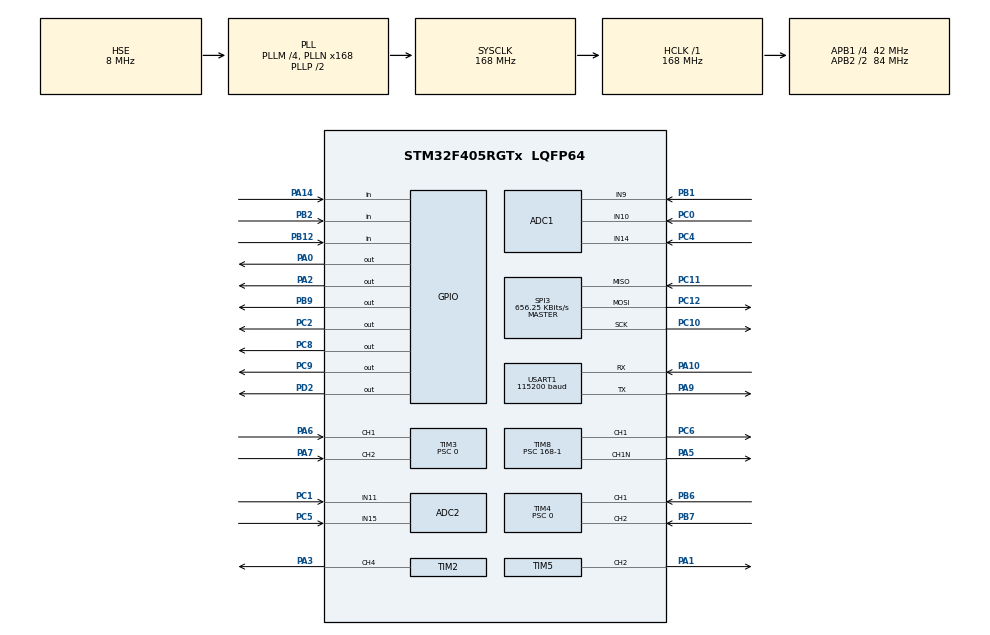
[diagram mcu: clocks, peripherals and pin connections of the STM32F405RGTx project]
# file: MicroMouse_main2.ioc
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ADC1.Channel-0\#ChannelRegularConversion=ADC_CHANNEL_10
ADC1.Channel-1\#ChannelRegularConversion=ADC_CHANNEL_14
ADC1.Channel-2\#ChannelRegularConversion=ADC_CHANNEL_9
ADC1.ClockPrescaler=ADC_CLOCK_SYNC_PCLK_DIV6
ADC1.ContinuousConvMode=ENABLE
ADC1.DMAContinuousRequests=ENABLE
ADC1.NbrOfConversion=3
ADC1.NbrOfConversionFlag=1
ADC1.Rank-0\#ChannelRegularConversion=1
ADC1.Rank-1\#ChannelRegularConversion=2
ADC1.Rank-2\#ChannelRegularConversion=3
ADC1.SamplingTime-0\#ChannelRegularConversion=ADC_SAMPLETIME_56CYCLES
ADC1.SamplingTime-1\#ChannelRegularConversion=ADC_SAMPLETIME_56CYCLES
ADC1.SamplingTime-2\#ChannelRegularConversion=ADC_SAMPLETIME_56CYCLES
ADC1.ScanConvMode=ENABLE
ADC1.master=1
ADC2.Channel-0\#ChannelRegularConversion=ADC_CHANNEL_11
ADC2.Channel-1\#ChannelRegularConversion=ADC_CHANNEL_15
ADC2.ClockPrescaler=ADC_CLOCK_SYNC_PCLK_DIV6
ADC2.ContinuousConvMode=ENABLE
ADC2.DMAContinuousRequests=ENABLE
ADC2.NbrOfConversion=2
ADC2.NbrOfConversionFlag=1
ADC2.Rank-0\#ChannelRegularConversion=1
ADC2.Rank-1\#ChannelRegularConversion=2
ADC2.SamplingTime-0\#ChannelRegularConversion=ADC_SAMPLETIME_56CYCLES
ADC2.SamplingTime-1\#ChannelRegularConversion=ADC_SAMPLETIME_56CYCLES
ADC2.ScanConvMode=ENABLE
Dma.ADC1.0.Direction=DMA_PERIPH_TO_MEMORY
Dma.ADC1.0.FIFOMode=DMA_FIFOMODE_DISABLE
Dma.ADC1.0.Instance=DMA2_Stream0
Dma.ADC1.0.MemDataAlignment=DMA_MDATAALIGN_HALFWORD
Dma.ADC1.0.MemInc=DMA_MINC_ENABLE
Dma.ADC1.0.Mode=DMA_CIRCULAR
Dma.ADC1.0.PeriphDataAlignment=DMA_PDATAALIGN_HALFWORD
Dma.ADC1.0.PeriphInc=DMA_PINC_DISABLE
Dma.ADC1.0.Priority=DMA_PRIORITY_LOW
Dma.ADC2.1.Direction=DMA_PERIPH_TO_MEMORY
Dma.ADC2.1.FIFOMode=DMA_FIFOMODE_DISABLE
Dma.ADC2.1.Instance=DMA2_Stream2
Dma.ADC2.1.MemDataAlignment=DMA_MDATAALIGN_HALFWORD
Dma.ADC2.1.MemInc=DMA_MINC_ENABLE
Dma.ADC2.1.Mode=DMA_CIRCULAR
Dma.ADC2.1.PeriphDataAlignment=DMA_PDATAALIGN_HALFWORD
Dma.ADC2.1.PeriphInc=DMA_PINC_DISABLE
Dma.ADC2.1.Priority=DMA_PRIORITY_LOW
Dma.Request0=ADC1
Dma.Request1=ADC2
Mcu.Family=STM32F4
Mcu.Name=STM32F405RGTx
Mcu.Package=LQFP64
NVIC.ADC_IRQn=true\:0\:0\:false\:false\:true\:true\:true\:true
NVIC.DMA2_Stream0_IRQn=true\:0\:0\:false\:false\:true\:false\:true\:true
NVIC.DMA2_Stream2_IRQn=true\:0\:0\:false\:false\:true\:false\:true\:true
NVIC.FLASH_IRQn=true\:0\:0\:false\:false\:true\:true\:true\:true
NVIC.PriorityGroup=NVIC_PRIORITYGROUP_4
NVIC.TIM1_UP_TIM10_IRQn=true\:1\:0\:true\:false\:true\:true\:true\:true
NVIC.TIM2_IRQn=true\:0\:0\:false\:false\:true\:true\:true\:true
NVIC.TIM3_IRQn=true\:0\:0\:false\:false\:true\:true\:true\:true
NVIC.TIM4_IRQn=true\:0\:0\:false\:false\:true\:true\:true\:true
NVIC.TIM5_IRQn=true\:0\:0\:false\:false\:true\:true\:true\:true
NVIC.TIM8_CC_IRQn=true\:0\:0\:false\:false\:true\:true\:true\:true
NVIC.TIM8_TRG_COM_TIM14_IRQn=true\:0\:0\:false\:false\:true\:true\:true\:true
NVIC.TIM8_UP_TIM13_IRQn=true\:2\:0\:true\:false\:true\:true\:true\:true
PA0-WKUP.Signal=GPIO_Output
PA1.Signal=S_TIM5_CH2
PA10.Mode=Asynchronous
PA10.Signal=USART1_RX
PA14.Signal=GPIO_Input
PA2.Signal=GPIO_Output
PA3.GPIO_Speed=GPIO_SPEED_FREQ_VERY_HIGH
PA3.Signal=S_TIM2_CH4
PA5.Mode=Output Compare1 CH1 CH1N
PA5.Signal=TIM8_CH1N
PA6.Signal=S_TIM3_CH1
PA7.Signal=S_TIM3_CH2
PA9.Mode=Asynchronous
PA9.Signal=USART1_TX
PB1.Signal=ADCx_IN9
PB12.Signal=GPIO_Input
PB2.Signal=GPIO_Input
PB6.Signal=S_TIM4_CH1
PB7.Signal=S_TIM4_CH2
PB9.Signal=GPIO_Output
PC0.Signal=ADCx_IN10
PC1.Signal=ADCx_IN11
PC10.Mode=Full_Duplex_Master
PC10.Signal=SPI3_SCK
PC11.Mode=Full_Duplex_Master
PC11.Signal=SPI3_MISO
PC12.Mode=Full_Duplex_Master
PC12.Signal=SPI3_MOSI
PC2.Signal=GPIO_Output
PC4.Signal=ADCx_IN14
PC5.Signal=ADCx_IN15
PC6.Signal=S_TIM8_CH1
PC8.Signal=GPIO_Output
PC9.Signal=GPIO_Output
PD2.Signal=GPIO_Output
PH0-OSC_IN.Mode=HSE-External-Oscillator
PH0-OSC_IN.Signal=RCC_OSC_IN
PH1-OSC_OUT.Mode=HSE-External-Oscillator
PH1-OSC_OUT.Signal=RCC_OSC_OUT
ProjectManager.HeapSize=0x200
ProjectManager.StackSize=0x400
ProjectManager.TargetToolchain=STM32CubeIDE
RCC.48MHZClocksFreq_Value=84000000
RCC.AHBFreq_Value=168000000
RCC.APB1CLKDivider=RCC_HCLK_DIV4
RCC.APB1Freq_Value=42000000
RCC.APB1TimFreq_Value=84000000
RCC.APB2CLKDivider=RCC_HCLK_DIV2
RCC.APB2Freq_Value=84000000
RCC.APB2TimFreq_Value=168000000
RCC.CortexFreq_Value=168000000
RCC.HCLKFreq_Value=168000000
RCC.HSE_VALUE=8000000
RCC.HSI_VALUE=16000000
RCC.LSE_VALUE=32768
RCC.PLLM=4
RCC.PLLN=168
RCC.PLLSourceVirtual=RCC_PLLSOURCE_HSE
RCC.SYSCLKFreq_VALUE=168000000
RCC.SYSCLKSource=RCC_SYSCLKSOURCE_PLLCLK
RCC.VCOOutputFreq_Value=336000000
SH.ADCx_IN10.0=ADC1_IN10,IN10
SH.ADCx_IN11.0=ADC2_IN11,IN11
SH.ADCx_IN14.0=ADC1_IN14,IN14
SH.ADCx_IN15.0=ADC2_IN15,IN15
SH.ADCx_IN9.0=ADC1_IN9,IN9
SH.S_TIM2_CH4.0=TIM2_CH4,PWM Generation4 CH4
SH.S_TIM3_CH1.0=TIM3_CH1,Encoder_Interface
SH.S_TIM3_CH2.0=TIM3_CH2,Encoder_Interface
SH.S_TIM4_CH1.0=TIM4_CH1,Encoder_Interface
SH.S_TIM4_CH2.0=TIM4_CH2,Encoder_Interface
SH.S_TIM5_CH2.0=TIM5_CH2,PWM Generation2 CH2
SH.S_TIM8_CH1.0=TIM8_CH1,Output Compare1 CH1 CH1N
SPI3.BaudRatePrescaler=SPI_BAUDRATEPRESCALER_64
SPI3.CLKPhase=SPI_PHASE_2EDGE
SPI3.CLKPolarity=SPI_POLARITY_HIGH
SPI3.CalculateBaudRate=656.25 KBits/s
SPI3.Direction=SPI_DIRECTION_2LINES
SPI3.Mode=SPI_MODE_MASTER
SPI3.VirtualType=VM_MASTER
TIM1.Period=1000-1
TIM1.Prescaler=168-1
TIM2.AutoReloadPreload=TIM_AUTORELOAD_PRELOAD_DISABLE
TIM2.Channel-PWM\ Generation4\ CH4=TIM_CHANNEL_4
TIM2.Period=4200-1
TIM2.Prescaler=0
TIM2.Pulse-PWM\ Generation4\ CH4=0
TIM3.Period=60000-1
TIM3.Prescaler=0
TIM4.Period=60000-1
TIM4.Prescaler=0
TIM5.AutoReloadPreload=TIM_AUTORELOAD_PRELOAD_DISABLE
TIM5.Channel-PWM\ Generation2\ CH2=TIM_CHANNEL_2
TIM5.Period=4200-1
TIM5.Prescaler=0
TIM8.AutoReloadPreload=TIM_AUTORELOAD_PRELOAD_ENABLE
TIM8.Channel-Output\ Compare1\ CH1\ CH1N=TIM_CHANNEL_1
TIM8.OC1Preload=ENABLE
TIM8.OCMode_1=TIM_OCMODE_TOGGLE
TIM8.Period=50-1
TIM8.Prescaler=168-1
TIM8.Pulse-Output\ Compare1\ CH1\ CH1N=25-1
USART1.BaudRate=115200
USART1.VirtualMode=VM_ASYNC
VP_TIM1_VS_ClockSourceINT.Mode=Internal
VP_TIM2_VS_ClockSourceINT.Mode=Internal
VP_TIM5_VS_ClockSourceINT.Mode=Internal
VP_TIM8_VS_ClockSourceINT.Mode=Internal
board=custom

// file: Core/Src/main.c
/* USER CODE BEGIN Header */
/* Variable rules */
// Grobal Variable  :  grobal, variable...
// Local Variable  :  Local, Variable...
// Macro  :  MACRO, DEIFNE...
/**
  ******************************************************************************
  * @file           : main.c
  * @brief          : Main program body
  ******************************************************************************
  * @attention
  *
  * <h2><center>&copy; Copyright (c) 2021 STMicroelectronics.
  * All rights reserved.</center></h2>
  *
  * This software component is licensed by ST under BSD 3-Clause license,
  * the "License"; You may not use this file except in compliance with the
  * License. You may obtain a copy of the License at:
  *                        opensource.org/licenses/BSD-3-Clause
  *
  ******************************************************************************
  */
/* USER CODE END Header */
#include "main.h"

/* USER CODE BEGIN Includes */
#include "math.h"
#include "stdlib.h"
#include "stdio.h"
#include "stdbool.h"
#include "string.h"
#include "stdint.h"

#include "stm32f4xx_hal_tim.h"

//#include "ICM_20648.h"
//
#include "IEH2_4096.h"		//エンコー
#include "ADC.h"
#include "LED_Driver.h"
#include "IR_Emitter.h"	//発
#include "Convert.h"

#include "UI.h"
#include "Interrupt.h"
#include "Mode.h"
#include "Map.h"
#include "ICM_20648.h"
#include "PID_Control.h"
#include "Motor_Driver.h"

#include "MicroMouse.h"

//#include <HPP/wrapper.hpp>
/* USER CODE END Includes */

/* USER CODE BEGIN PD */

/*  ---ms---  制御周     */
//#define _GNU_SOURCE
//#define PI 3.14159265358979323846

/*--調整パラメータ--*/

/* USER CODE END PD */

ADC_HandleTypeDef hadc1;
ADC_HandleTypeDef hadc2;
DMA_HandleTypeDef hdma_adc1;
DMA_HandleTypeDef hdma_adc2;

SPI_HandleTypeDef hspi3;

TIM_HandleTypeDef htim1;
TIM_HandleTypeDef htim2;
TIM_HandleTypeDef htim3;
TIM_HandleTypeDef htim4;
TIM_HandleTypeDef htim5;
TIM_HandleTypeDef htim8;

UART_HandleTypeDef huart1;

void SystemClock_Config(void);
static void MX_GPIO_Init(void);
static void MX_DMA_Init(void);
static void MX_ADC1_Init(void);
static void MX_ADC2_Init(void);
static void MX_TIM3_Init(void);
static void MX_TIM2_Init(void);
static void MX_SPI3_Init(void);
static void MX_USART1_UART_Init(void);
static void MX_TIM5_Init(void);
static void MX_TIM4_Init(void);
static void MX_TIM8_Init(void);
static void MX_TIM1_Init(void);
/* USER CODE BEGIN PFP */
extern void TIM5Init();
/* USER CODE END PFP */

/* USER CODE BEGIN 0 */
#ifdef __GNUC__
	#define PUTCHAR_PROTOTYPE int __io_putchar(int ch)
	#define GETCHAR_PROTOTYPE int __io_getchar(void)
#else
	#define PUTCHAR_PROTOTYPE int fputc(int ch, FILE *f)
	#define GETCHAR_PROTOTYPE int f getc(FILE* f)
#endif /*__GNUC__*/
PUTCHAR_PROTOTYPE {
	HAL_UART_Transmit(&huart1, (uint8_t*)&ch, 1, 0xFFFF);
	return ch;
}
int __io_getchar(void) {
HAL_StatusTypeDef Status = HAL_BUSY;
uint8_t Data;

while(Status != HAL_OK)
{
Status = HAL_UART_Receive(&huart1, &Data, sizeof(Data), 10);
//if(Status == HAL_ERROR)
//{
//	return 0;
//	break;
//}
}
return(Data);
}
/*---- DEFINING FUNCTION ----*/

/*---- DEFINING FUNCTION END----*/

/* USER CODE END 0 */

int main(void)
{

  /* MCU Configuration--------------------------------------------------------*/

  /* Reset of all peripherals, Initializes the Flash interface and the Systick. */
  HAL_Init();

  /* USER CODE BEGIN Init */

  //バッ�?リチェ�?ク
  MX_GPIO_Init();
  MX_DMA_Init();
  MX_ADC1_Init();
  MX_ADC2_Init();

  ADCStart();
  BatteryCheck( (int)adc1[2] );
  ADCStop();

  //モード選�? //スイ�?チが押されるまでエンコー�?の処�?を受け付け�?
  MX_TIM3_Init();

  int8_t startup_mode;
  ModeSelect(0, 7, &startup_mode);
  Signal( startup_mode );

  //MAX45mAでモード選択できる

  /* USER CODE END Init */

  /* Configure the system clock */
  SystemClock_Config();

  /* Initialize all configured peripherals */
  MX_GPIO_Init();
  MX_DMA_Init();
  MX_ADC1_Init();
  MX_ADC2_Init();
  MX_TIM3_Init();
  MX_TIM2_Init();
  MX_SPI3_Init();
  MX_USART1_UART_Init();
  MX_TIM5_Init();
  MX_TIM4_Init();
  MX_TIM8_Init();
  MX_TIM1_Init();
  /* USER CODE BEGIN 2 */

  //赤外線LEDの消費電流テス�?
  //何も無�?70mA
  //これまで
  //101mAになった�?�で31mA. 2本で.

  //周波数を上げ�?

  //周波数を下げ�?
  /* USER CODE END 2 */

  /* Infinite loop */
  /* USER CODE BEGIN WHILE */

  //cpploop();

#if 0
  printf("test\r\n");
  ChangeLED(7);
  HAL_Delay(1000);
  IT_mode = WRITINGFREE;
  //エンコー
  EncoderStart();
  //モータタイ??��?��?
  Motor_PWM_Start();
  //割込み
  HAL_TIM_Base_Start_IT(&htim1);

  HAL_GPIO_WritePin(GPIO_LEFT, GPIO_L_PIN_NUM, GPIO_PIN_SET); //A2が左SET:1で正転
  HAL_GPIO_WritePin(GPIO_RIGHT, GPIO_R_PIN_NUM, GPIO_PIN_RESET);
  	__HAL_TIM_SET_COMPARE(&htim2, TIM_CHANNEL_4, 1050/4); //duty??��?��?//tim2ch4が左
  	__HAL_TIM_SET_COMPARE(&htim5, TIM_CHANNEL_2, 1050/4);
  	while(data[1999] == 0)
  	{

  	}
  	__HAL_TIM_SET_COMPARE(&htim2, TIM_CHANNEL_4, 0);
  	__HAL_TIM_SET_COMPARE(&htim5, TIM_CHANNEL_2, 0);
  	HAL_TIM_Base_Stop_IT(&htim1);
  //t = 1;
  while(1)
  {

		  for(int i=0; i < 2000; i++)
		  {
			  printf("%d, %f\r\n",i,data[i]);
			  HAL_Delay(1);
		  }
	  HAL_Delay(10000);

  }

#endif

  PIDSetGain(L_VELO_PID, 14.6, 2800,0.001);//1200,0);//2430,0);//7.3,1215,0);//40kHzの//14.6, 2430,0);//(20khzのと??��?��?);//1200,0.0);//2430, 0.002);//21.96,2450,0.002);//14,6000,0.002);//11.1, 2430, 0.002);////D0.0036 //I2430くら 36.6*0.6=18+3.96
  PIDSetGain(R_VELO_PID, 14.6, 2800,0.001);// 1200,0);//2430,0);//7.3,1215,0);//14.6, 2430,0);//1200,0.0);//, 2430,0);//17.5//2430, 0.002);//21.96,2450,0.002);//14,6000,0.002);//11.1, 2430, 0.002);//I150,
  //PIDSetGain(B_VELO, 1.1941, 33.5232, 0.0059922);
  PIDSetGain(A_VELO_PID, 12,0,0);//28.6379,340.0855,0.21289);//17.4394, 321.233, 0.12492);
  PIDSetGain(F_WALL_PID, 6, 0, 0	);
  PIDSetGain(D_WALL_PID, 6, 0, 0	);//3.2,0,0);/4.5,1.5,0.003);//3.6, 20, 0);//5.2//速度制御
  PIDSetGain(L_WALL_PID, 12,0,0);//6.4,0,0);//9,3,0.006);//1.8, 10, 0);
  PIDSetGain(R_WALL_PID, 12,0,0);//6.4,0,0);//9,3,0.006);//1.8, 10, 0);

  while (1)
  {
	  switch( startup_mode )
	  {
	  case PARAMETERSETTING:

		  ParameterSetting();
		//wall_flash_print();
		  break;
	  case CQ:
		  CQ_test();
		  //GainTestRWall();
		  break;
	  case GAINTEST:
		  GainTestDWall();
		  break;
	  case DEBUGGER:
		  Debug();
		  break;
	  case FASTEST_RUN:
		  //GainTestLWall();
		  FastestRun();
		  break;
	  case 5:
		  GainTestAVelo();
		  break;
	  case EXPLORE:
		  Explore();
		  break;
	  case WRITINGFREE:
		  WritingFree();
		  break;
	  default :
		  break;
	  }
    /* USER CODE END WHILE */

  }
}

void SystemClock_Config(void)
{
  RCC_OscInitTypeDef RCC_OscInitStruct = {0};
  RCC_ClkInitTypeDef RCC_ClkInitStruct = {0};

  /** Configure the main internal regulator output voltage
  */
  __HAL_RCC_PWR_CLK_ENABLE();
  __HAL_PWR_VOLTAGESCALING_CONFIG(PWR_REGULATOR_VOLTAGE_SCALE1);
  /** Initializes the RCC Oscillators according to the specified parameters
  * in the RCC_OscInitTypeDef structure.
  */
  RCC_OscInitStruct.OscillatorType = RCC_OSCILLATORTYPE_HSE;
  RCC_OscInitStruct.HSEState = RCC_HSE_ON;
  RCC_OscInitStruct.PLL.PLLState = RCC_PLL_ON;
  RCC_OscInitStruct.PLL.PLLSource = RCC_PLLSOURCE_HSE;
  RCC_OscInitStruct.PLL.PLLM = 4;
  RCC_OscInitStruct.PLL.PLLN = 168;
  RCC_OscInitStruct.PLL.PLLP = RCC_PLLP_DIV2;
  RCC_OscInitStruct.PLL.PLLQ = 4;
  if (HAL_RCC_OscConfig(&RCC_OscInitStruct) != HAL_OK)
  {
    Error_Handler();
  }
  /** Initializes the CPU, AHB and APB buses clocks
  */
  RCC_ClkInitStruct.ClockType = RCC_CLOCKTYPE_HCLK|RCC_CLOCKTYPE_SYSCLK
                              |RCC_CLOCKTYPE_PCLK1|RCC_CLOCKTYPE_PCLK2;
  RCC_ClkInitStruct.SYSCLKSource = RCC_SYSCLKSOURCE_PLLCLK;
  RCC_ClkInitStruct.AHBCLKDivider = RCC_SYSCLK_DIV1;
  RCC_ClkInitStruct.APB1CLKDivider = RCC_HCLK_DIV4;
  RCC_ClkInitStruct.APB2CLKDivider = RCC_HCLK_DIV2;

  if (HAL_RCC_ClockConfig(&RCC_ClkInitStruct, FLASH_LATENCY_5) != HAL_OK)
  {
    Error_Handler();
  }
}

static void MX_ADC1_Init(void)
{

  ADC_ChannelConfTypeDef sConfig = {0};

  /** Configure the global features of the ADC (Clock, Resolution, Data Alignment and number of conversion)
  */
  hadc1.Instance = ADC1;
  hadc1.Init.ClockPrescaler = ADC_CLOCK_SYNC_PCLK_DIV6;
  hadc1.Init.Resolution = ADC_RESOLUTION_12B;
  hadc1.Init.ScanConvMode = ENABLE;
  hadc1.Init.ContinuousConvMode = ENABLE;
  hadc1.Init.DiscontinuousConvMode = DISABLE;
  hadc1.Init.ExternalTrigConvEdge = ADC_EXTERNALTRIGCONVEDGE_NONE;
  hadc1.Init.ExternalTrigConv = ADC_SOFTWARE_START;
  hadc1.Init.DataAlign = ADC_DATAALIGN_RIGHT;
  hadc1.Init.NbrOfConversion = 3;
  hadc1.Init.DMAContinuousRequests = ENABLE;
  hadc1.Init.EOCSelection = ADC_EOC_SINGLE_CONV;
  if (HAL_ADC_Init(&hadc1) != HAL_OK)
  {
    Error_Handler();
  }
  /** Configure for the selected ADC regular channel its corresponding rank in the sequencer and its sample time.
  */
  sConfig.Channel = ADC_CHANNEL_10;
  sConfig.Rank = 1;
  sConfig.SamplingTime = ADC_SAMPLETIME_56CYCLES;
  if (HAL_ADC_ConfigChannel(&hadc1, &sConfig) != HAL_OK)
  {
    Error_Handler();
  }
  /** Configure for the selected ADC regular channel its corresponding rank in the sequencer and its sample time.
  */
  sConfig.Channel = ADC_CHANNEL_14;
  sConfig.Rank = 2;
  if (HAL_ADC_ConfigChannel(&hadc1, &sConfig) != HAL_OK)
  {
    Error_Handler();
  }
  /** Configure for the selected ADC regular channel its corresponding rank in the sequencer and its sample time.
  */
  sConfig.Channel = ADC_CHANNEL_9;
  sConfig.Rank = 3;
  if (HAL_ADC_ConfigChannel(&hadc1, &sConfig) != HAL_OK)
  {
    Error_Handler();
  }

}

static void MX_ADC2_Init(void)
{

  ADC_ChannelConfTypeDef sConfig = {0};

  /** Configure the global features of the ADC (Clock, Resolution, Data Alignment and number of conversion)
  */
  hadc2.Instance = ADC2;
  hadc2.Init.ClockPrescaler = ADC_CLOCK_SYNC_PCLK_DIV6;
  hadc2.Init.Resolution = ADC_RESOLUTION_12B;
  hadc2.Init.ScanConvMode = ENABLE;
  hadc2.Init.ContinuousConvMode = ENABLE;
  hadc2.Init.DiscontinuousConvMode = DISABLE;
  hadc2.Init.ExternalTrigConvEdge = ADC_EXTERNALTRIGCONVEDGE_NONE;
  hadc2.Init.ExternalTrigConv = ADC_SOFTWARE_START;
  hadc2.Init.DataAlign = ADC_DATAALIGN_RIGHT;
  hadc2.Init.NbrOfConversion = 2;
  hadc2.Init.DMAContinuousRequests = ENABLE;
  hadc2.Init.EOCSelection = ADC_EOC_SINGLE_CONV;
  if (HAL_ADC_Init(&hadc2) != HAL_OK)
  {
    Error_Handler();
  }
  /** Configure for the selected ADC regular channel its corresponding rank in the sequencer and its sample time.
  */
  sConfig.Channel = ADC_CHANNEL_11;
  sConfig.Rank = 1;
  sConfig.SamplingTime = ADC_SAMPLETIME_56CYCLES;
  if (HAL_ADC_ConfigChannel(&hadc2, &sConfig) != HAL_OK)
  {
    Error_Handler();
  }
  /** Configure for the selected ADC regular channel its corresponding rank in the sequencer and its sample time.
  */
  sConfig.Channel = ADC_CHANNEL_15;
  sConfig.Rank = 2;
  if (HAL_ADC_ConfigChannel(&hadc2, &sConfig) != HAL_OK)
  {
    Error_Handler();
  }

}

static void MX_SPI3_Init(void)
{

  /* SPI3 parameter configuration*/
  hspi3.Instance = SPI3;
  hspi3.Init.Mode = SPI_MODE_MASTER;
  hspi3.Init.Direction = SPI_DIRECTION_2LINES;
  hspi3.Init.DataSize = SPI_DATASIZE_8BIT;
  hspi3.Init.CLKPolarity = SPI_POLARITY_HIGH;
  hspi3.Init.CLKPhase = SPI_PHASE_2EDGE;
  hspi3.Init.NSS = SPI_NSS_SOFT;
  hspi3.Init.BaudRatePrescaler = SPI_BAUDRATEPRESCALER_64;
  hspi3.Init.FirstBit = SPI_FIRSTBIT_MSB;
  hspi3.Init.TIMode = SPI_TIMODE_DISABLE;
  hspi3.Init.CRCCalculation = SPI_CRCCALCULATION_DISABLE;
  hspi3.Init.CRCPolynomial = 10;
  if (HAL_SPI_Init(&hspi3) != HAL_OK)
  {
    Error_Handler();
  }

}

static void MX_TIM1_Init(void)
{

  TIM_ClockConfigTypeDef sClockSourceConfig = {0};
  TIM_MasterConfigTypeDef sMasterConfig = {0};

  htim1.Instance = TIM1;
  htim1.Init.Prescaler = 168-1;
  htim1.Init.CounterMode = TIM_COUNTERMODE_UP;
  htim1.Init.Period = 1000-1;
  htim1.Init.ClockDivision = TIM_CLOCKDIVISION_DIV1;
  htim1.Init.RepetitionCounter = 0;
  htim1.Init.AutoReloadPreload = TIM_AUTORELOAD_PRELOAD_DISABLE;
  if (HAL_TIM_Base_Init(&htim1) != HAL_OK)
  {
    Error_Handler();
  }
  sClockSourceConfig.ClockSource = TIM_CLOCKSOURCE_INTERNAL;
  if (HAL_TIM_ConfigClockSource(&htim1, &sClockSourceConfig) != HAL_OK)
  {
    Error_Handler();
  }
  sMasterConfig.MasterOutputTrigger = TIM_TRGO_RESET;
  sMasterConfig.MasterSlaveMode = TIM_MASTERSLAVEMODE_DISABLE;
  if (HAL_TIMEx_MasterConfigSynchronization(&htim1, &sMasterConfig) != HAL_OK)
  {
    Error_Handler();
  }

}

static void MX_TIM2_Init(void)
{

  TIM_ClockConfigTypeDef sClockSourceConfig = {0};
  TIM_MasterConfigTypeDef sMasterConfig = {0};
  TIM_OC_InitTypeDef sConfigOC = {0};

  htim2.Instance = TIM2;
  htim2.Init.Prescaler = 0;
  htim2.Init.CounterMode = TIM_COUNTERMODE_UP;
  htim2.Init.Period = 4200-1;
  htim2.Init.ClockDivision = TIM_CLOCKDIVISION_DIV1;
  htim2.Init.AutoReloadPreload = TIM_AUTORELOAD_PRELOAD_DISABLE;
  if (HAL_TIM_Base_Init(&htim2) != HAL_OK)
  {
    Error_Handler();
  }
  sClockSourceConfig.ClockSource = TIM_CLOCKSOURCE_INTERNAL;
  if (HAL_TIM_ConfigClockSource(&htim2, &sClockSourceConfig) != HAL_OK)
  {
    Error_Handler();
  }
  if (HAL_TIM_PWM_Init(&htim2) != HAL_OK)
  {
    Error_Handler();
  }
  sMasterConfig.MasterOutputTrigger = TIM_TRGO_RESET;
  sMasterConfig.MasterSlaveMode = TIM_MASTERSLAVEMODE_DISABLE;
  if (HAL_TIMEx_MasterConfigSynchronization(&htim2, &sMasterConfig) != HAL_OK)
  {
    Error_Handler();
  }
  sConfigOC.OCMode = TIM_OCMODE_PWM1;
  sConfigOC.Pulse = 0;
  sConfigOC.OCPolarity = TIM_OCPOLARITY_HIGH;
  sConfigOC.OCFastMode = TIM_OCFAST_DISABLE;
  if (HAL_TIM_PWM_ConfigChannel(&htim2, &sConfigOC, TIM_CHANNEL_4) != HAL_OK)
  {
    Error_Handler();
  }
  HAL_TIM_MspPostInit(&htim2);

}

static void MX_TIM3_Init(void)
{

  TIM_Encoder_InitTypeDef sConfig = {0};
  TIM_MasterConfigTypeDef sMasterConfig = {0};

  htim3.Instance = TIM3;
  htim3.Init.Prescaler = 0;
  htim3.Init.CounterMode = TIM_COUNTERMODE_UP;
  htim3.Init.Period = 60000-1;
  htim3.Init.ClockDivision = TIM_CLOCKDIVISION_DIV1;
  htim3.Init.AutoReloadPreload = TIM_AUTORELOAD_PRELOAD_DISABLE;
  sConfig.EncoderMode = TIM_ENCODERMODE_TI12;
  sConfig.IC1Polarity = TIM_ICPOLARITY_RISING;
  sConfig.IC1Selection = TIM_ICSELECTION_DIRECTTI;
  sConfig.IC1Prescaler = TIM_ICPSC_DIV1;
  sConfig.IC1Filter = 0;
  sConfig.IC2Polarity = TIM_ICPOLARITY_RISING;
  sConfig.IC2Selection = TIM_ICSELECTION_DIRECTTI;
  sConfig.IC2Prescaler = TIM_ICPSC_DIV1;
  sConfig.IC2Filter = 0;
  if (HAL_TIM_Encoder_Init(&htim3, &sConfig) != HAL_OK)
  {
    Error_Handler();
  }
  sMasterConfig.MasterOutputTrigger = TIM_TRGO_RESET;
  sMasterConfig.MasterSlaveMode = TIM_MASTERSLAVEMODE_DISABLE;
  if (HAL_TIMEx_MasterConfigSynchronization(&htim3, &sMasterConfig) != HAL_OK)
  {
    Error_Handler();
  }

}

static void MX_TIM4_Init(void)
{

  TIM_Encoder_InitTypeDef sConfig = {0};
  TIM_MasterConfigTypeDef sMasterConfig = {0};

  htim4.Instance = TIM4;
  htim4.Init.Prescaler = 0;
  htim4.Init.CounterMode = TIM_COUNTERMODE_UP;
  htim4.Init.Period = 60000-1;
  htim4.Init.ClockDivision = TIM_CLOCKDIVISION_DIV1;
  htim4.Init.AutoReloadPreload = TIM_AUTORELOAD_PRELOAD_DISABLE;
  sConfig.EncoderMode = TIM_ENCODERMODE_TI12;
  sConfig.IC1Polarity = TIM_ICPOLARITY_RISING;
  sConfig.IC1Selection = TIM_ICSELECTION_DIRECTTI;
  sConfig.IC1Prescaler = TIM_ICPSC_DIV1;
  sConfig.IC1Filter = 0;
  sConfig.IC2Polarity = TIM_ICPOLARITY_RISING;
  sConfig.IC2Selection = TIM_ICSELECTION_DIRECTTI;
  sConfig.IC2Prescaler = TIM_ICPSC_DIV1;
  sConfig.IC2Filter = 0;
  if (HAL_TIM_Encoder_Init(&htim4, &sConfig) != HAL_OK)
  {
    Error_Handler();
  }
  sMasterConfig.MasterOutputTrigger = TIM_TRGO_RESET;
  sMasterConfig.MasterSlaveMode = TIM_MASTERSLAVEMODE_DISABLE;
  if (HAL_TIMEx_MasterConfigSynchronization(&htim4, &sMasterConfig) != HAL_OK)
  {
    Error_Handler();
  }

}

static void MX_TIM5_Init(void)
{

  TIM_ClockConfigTypeDef sClockSourceConfig = {0};
  TIM_MasterConfigTypeDef sMasterConfig = {0};
  TIM_OC_InitTypeDef sConfigOC = {0};

  htim5.Instance = TIM5;
  htim5.Init.Prescaler = 0;
  htim5.Init.CounterMode = TIM_COUNTERMODE_UP;
  htim5.Init.Period = 4200-1;
  htim5.Init.ClockDivision = TIM_CLOCKDIVISION_DIV1;
  htim5.Init.AutoReloadPreload = TIM_AUTORELOAD_PRELOAD_DISABLE;
  if (HAL_TIM_Base_Init(&htim5) != HAL_OK)
  {
    Error_Handler();
  }
  sClockSourceConfig.ClockSource = TIM_CLOCKSOURCE_INTERNAL;
  if (HAL_TIM_ConfigClockSource(&htim5, &sClockSourceConfig) != HAL_OK)
  {
    Error_Handler();
  }
  if (HAL_TIM_PWM_Init(&htim5) != HAL_OK)
  {
    Error_Handler();
  }
  sMasterConfig.MasterOutputTrigger = TIM_TRGO_RESET;
  sMasterConfig.MasterSlaveMode = TIM_MASTERSLAVEMODE_DISABLE;
  if (HAL_TIMEx_MasterConfigSynchronization(&htim5, &sMasterConfig) != HAL_OK)
  {
    Error_Handler();
  }
  sConfigOC.OCMode = TIM_OCMODE_PWM1;
  sConfigOC.Pulse = 0;
  sConfigOC.OCPolarity = TIM_OCPOLARITY_HIGH;
  sConfigOC.OCFastMode = TIM_OCFAST_DISABLE;
  if (HAL_TIM_PWM_ConfigChannel(&htim5, &sConfigOC, TIM_CHANNEL_2) != HAL_OK)
  {
    Error_Handler();
  }
  HAL_TIM_MspPostInit(&htim5);

}

static void MX_TIM8_Init(void)
{

  TIM_ClockConfigTypeDef sClockSourceConfig = {0};
  TIM_MasterConfigTypeDef sMasterConfig = {0};
  TIM_OC_InitTypeDef sConfigOC = {0};
  TIM_BreakDeadTimeConfigTypeDef sBreakDeadTimeConfig = {0};

  htim8.Instance = TIM8;
  htim8.Init.Prescaler = 168-1;
  htim8.Init.CounterMode = TIM_COUNTERMODE_UP;
  htim8.Init.Period = 50-1;
  htim8.Init.ClockDivision = TIM_CLOCKDIVISION_DIV1;
  htim8.Init.RepetitionCounter = 0;
  htim8.Init.AutoReloadPreload = TIM_AUTORELOAD_PRELOAD_ENABLE;
  if (HAL_TIM_Base_Init(&htim8) != HAL_OK)
  {
    Error_Handler();
  }
  sClockSourceConfig.ClockSource = TIM_CLOCKSOURCE_INTERNAL;
  if (HAL_TIM_ConfigClockSource(&htim8, &sClockSourceConfig) != HAL_OK)
  {
    Error_Handler();
  }
  if (HAL_TIM_OC_Init(&htim8) != HAL_OK)
  {
    Error_Handler();
  }
  sMasterConfig.MasterOutputTrigger = TIM_TRGO_RESET;
  sMasterConfig.MasterSlaveMode = TIM_MASTERSLAVEMODE_DISABLE;
  if (HAL_TIMEx_MasterConfigSynchronization(&htim8, &sMasterConfig) != HAL_OK)
  {
    Error_Handler();
  }
  sConfigOC.OCMode = TIM_OCMODE_TOGGLE;
  sConfigOC.Pulse = 25-1;
  sConfigOC.OCPolarity = TIM_OCPOLARITY_HIGH;
  sConfigOC.OCNPolarity = TIM_OCNPOLARITY_HIGH;
  sConfigOC.OCFastMode = TIM_OCFAST_DISABLE;
  sConfigOC.OCIdleState = TIM_OCIDLESTATE_RESET;
  sConfigOC.OCNIdleState = TIM_OCNIDLESTATE_RESET;
  if (HAL_TIM_OC_ConfigChannel(&htim8, &sConfigOC, TIM_CHANNEL_1) != HAL_OK)
  {
    Error_Handler();
  }
  __HAL_TIM_ENABLE_OCxPRELOAD(&htim8, TIM_CHANNEL_1);
  sBreakDeadTimeConfig.OffStateRunMode = TIM_OSSR_DISABLE;
  sBreakDeadTimeConfig.OffStateIDLEMode = TIM_OSSI_DISABLE;
  sBreakDeadTimeConfig.LockLevel = TIM_LOCKLEVEL_OFF;
  sBreakDeadTimeConfig.DeadTime = 0;
  sBreakDeadTimeConfig.BreakState = TIM_BREAK_DISABLE;
  sBreakDeadTimeConfig.BreakPolarity = TIM_BREAKPOLARITY_HIGH;
  sBreakDeadTimeConfig.AutomaticOutput = TIM_AUTOMATICOUTPUT_DISABLE;
  if (HAL_TIMEx_ConfigBreakDeadTime(&htim8, &sBreakDeadTimeConfig) != HAL_OK)
  {
    Error_Handler();
  }
  HAL_TIM_MspPostInit(&htim8);

}

static void MX_USART1_UART_Init(void)
{

  huart1.Instance = USART1;
  huart1.Init.BaudRate = 115200;
  huart1.Init.WordLength = UART_WORDLENGTH_8B;
  huart1.Init.StopBits = UART_STOPBITS_1;
  huart1.Init.Parity = UART_PARITY_NONE;
  huart1.Init.Mode = UART_MODE_TX_RX;
  huart1.Init.HwFlowCtl = UART_HWCONTROL_NONE;
  huart1.Init.OverSampling = UART_OVERSAMPLING_16;
  if (HAL_UART_Init(&huart1) != HAL_OK)
  {
    Error_Handler();
  }

}

static void MX_DMA_Init(void)
{

  /* DMA controller clock enable */
  __HAL_RCC_DMA2_CLK_ENABLE();

  /* DMA interrupt init */
  /* DMA2_Stream0_IRQn interrupt configuration */
  HAL_NVIC_SetPriority(DMA2_Stream0_IRQn, 0, 0);
  HAL_NVIC_EnableIRQ(DMA2_Stream0_IRQn);
  /* DMA2_Stream2_IRQn interrupt configuration */
  HAL_NVIC_SetPriority(DMA2_Stream2_IRQn, 0, 0);
  HAL_NVIC_EnableIRQ(DMA2_Stream2_IRQn);

}

static void MX_GPIO_Init(void)
{
  GPIO_InitTypeDef GPIO_InitStruct = {0};

  /* GPIO Ports Clock Enable */
  __HAL_RCC_GPIOH_CLK_ENABLE();
  __HAL_RCC_GPIOC_CLK_ENABLE();
  __HAL_RCC_GPIOA_CLK_ENABLE();
  __HAL_RCC_GPIOB_CLK_ENABLE();
  __HAL_RCC_GPIOD_CLK_ENABLE();

  /*Configure GPIO pin Output Level */
  HAL_GPIO_WritePin(GPIOA, GPIO_PIN_0|GPIO_PIN_2, GPIO_PIN_RESET);

  /*Configure GPIO pin Output Level */
  HAL_GPIO_WritePin(GPIOC, GPIO_PIN_8|GPIO_PIN_9, GPIO_PIN_RESET);

  /*Configure GPIO pin Output Level */
  HAL_GPIO_WritePin(GPIOD, GPIO_PIN_2, GPIO_PIN_RESET);

  /*Configure GPIO pin Output Level */
  HAL_GPIO_WritePin(GPIOB, GPIO_PIN_9, GPIO_PIN_RESET);

  /*Configure GPIO pins : PA0 PA2 */
  GPIO_InitStruct.Pin = GPIO_PIN_0|GPIO_PIN_2;
  GPIO_InitStruct.Mode = GPIO_MODE_OUTPUT_PP;
  GPIO_InitStruct.Pull = GPIO_NOPULL;
  GPIO_InitStruct.Speed = GPIO_SPEED_FREQ_LOW;
  HAL_GPIO_Init(GPIOA, &GPIO_InitStruct);

  /*Configure GPIO pin : PB12 */
  GPIO_InitStruct.Pin = GPIO_PIN_12;
  GPIO_InitStruct.Mode = GPIO_MODE_IT_RISING;
  GPIO_InitStruct.Pull = GPIO_NOPULL;
  HAL_GPIO_Init(GPIOB, &GPIO_InitStruct);

  /*Configure GPIO pins : PC8 PC9 */
  GPIO_InitStruct.Pin = GPIO_PIN_8|GPIO_PIN_9;
  GPIO_InitStruct.Mode = GPIO_MODE_OUTPUT_PP;
  GPIO_InitStruct.Pull = GPIO_NOPULL;
  GPIO_InitStruct.Speed = GPIO_SPEED_FREQ_LOW;
  HAL_GPIO_Init(GPIOC, &GPIO_InitStruct);

  /*Configure GPIO pin : PD2 */
  GPIO_InitStruct.Pin = GPIO_PIN_2;
  GPIO_InitStruct.Mode = GPIO_MODE_OUTPUT_PP;
  GPIO_InitStruct.Pull = GPIO_NOPULL;
  GPIO_InitStruct.Speed = GPIO_SPEED_FREQ_LOW;
  HAL_GPIO_Init(GPIOD, &GPIO_InitStruct);

  /*Configure GPIO pin : PB9 */
  GPIO_InitStruct.Pin = GPIO_PIN_9;
  GPIO_InitStruct.Mode = GPIO_MODE_OUTPUT_PP;
  GPIO_InitStruct.Pull = GPIO_NOPULL;
  GPIO_InitStruct.Speed = GPIO_SPEED_FREQ_LOW;
  HAL_GPIO_Init(GPIOB, &GPIO_InitStruct);

  /* EXTI interrupt init*/
  HAL_NVIC_SetPriority(EXTI15_10_IRQn, 0, 0);
  HAL_NVIC_EnableIRQ(EXTI15_10_IRQn);

}

void Error_Handler(void)
{
  __disable_irq();
  while (1)
  {
  }
}

/************************ (C) COPYRIGHT STMicroelectronics *****END OF FILE****/
